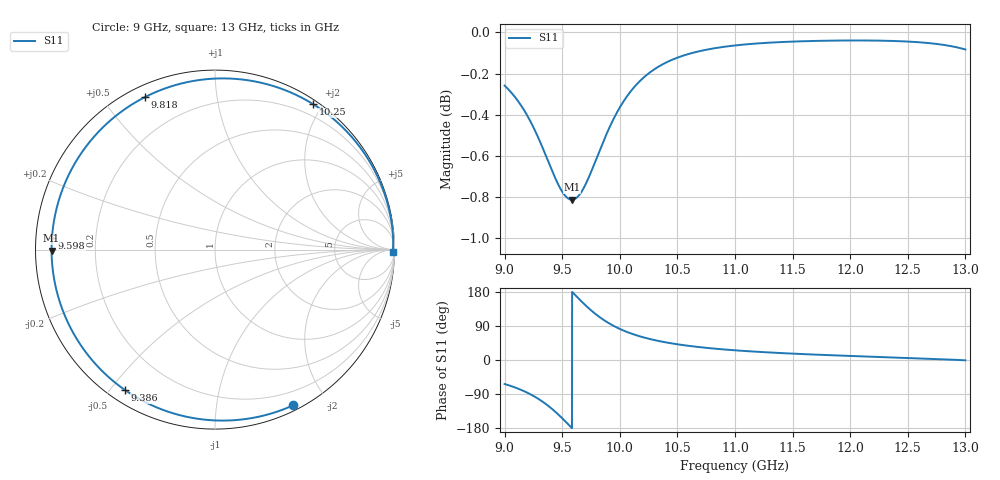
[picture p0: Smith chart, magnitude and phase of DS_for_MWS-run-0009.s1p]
! TOUCHSTONE file generated by CST DESIGN STUDIO
! Date and time: Tue Feb  4 16:14:32 2025
! Project name: C:\Work\MatlabApps\UnitCellOptimizationMatlab\CST\unitcell.cst
! Tree item: Tasks\Sweep1\SPara1\S-Parameters
! Header version: 2024
! Port assignment regex: !\s*Touchstone port\s*([0-9]+)\s*=\s*(CST MWS port|CST DES external port|CST DES block port)\s*(.+)\s* \(\"(.*)\"\)(\s*mode\s*([0-9]+))?.*
! Touchstone port assignment:
! Touchstone port 1 = CST DES external port 1 ("")
# GHz S MA R 50
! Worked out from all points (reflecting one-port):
!   4001 points, 9 GHz to 13 GHz, reference 50 ohm
!   lowest |S11| = -0.8 dB at 9.584 GHz (marker M1), VSWR 21.38, Z = 2.34 - j0.16 ohm
!   phase of S11 starts at -63 deg and turns -298 deg over the sweep
!   S11 on the Smith chart (normalised r, x): 9 GHz: 0.05, -1.62; 9.386 GHz: 0.05, -0.55; 9.598 GHz: 0.05, +0.04; 9.818 GHz: 0.05, +0.64; 10.25 GHz: 0.05, +1.88; 13 GHz: open
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9  0.9707 -63.4
9.048  0.9676 -68.0
9.117  0.9623 -75.6
9.235  0.9502 -92.2
9.315  0.9396 -106.9
9.386  0.9293 -122.7
9.442  0.9214 -137.2
9.5  0.9148 -153.7
9.543  0.9117 -166.8
9.584  0.9106 -179.6
9.598  0.9107 176.0
9.653  0.9134 158.9
9.715  0.92 140.7
9.766  0.9272 127.1
9.818  0.935 114.7
9.858  0.9409 106.1
9.9  0.9468 98.0
10  0.9589 82.0
10.119  0.9694 67.7
10.253  0.9775 55.9
10.368  0.9822 48.3
10.5  0.986 41.5
10.72  0.99 33.1
11  0.9928 25.6
11.5  0.9949 16.8
12  0.9955 10.7
12.5  0.9949 5.5
13  0.9905 -0.9
